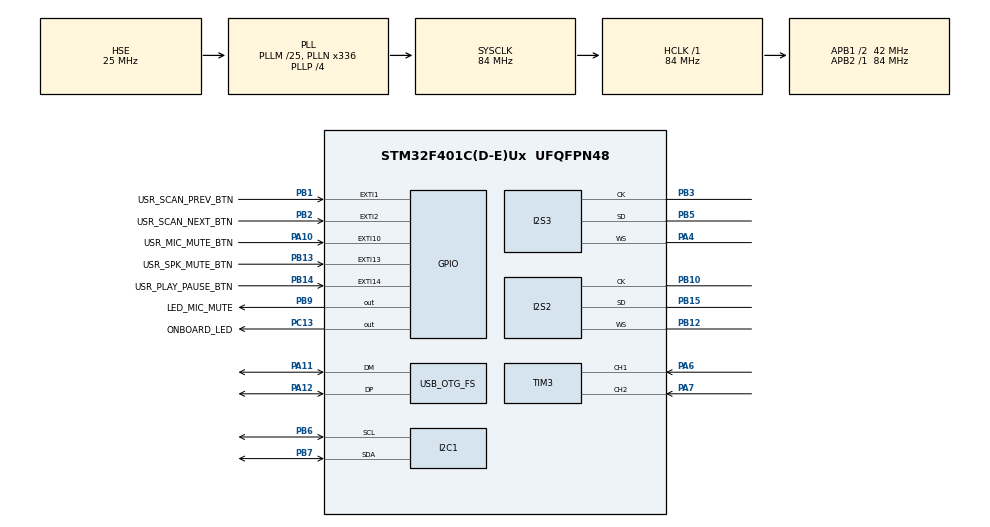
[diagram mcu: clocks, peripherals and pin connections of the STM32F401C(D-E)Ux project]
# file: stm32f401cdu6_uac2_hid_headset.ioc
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Dma.Request0=SPI2_TX
Dma.Request1=SPI3_RX
Dma.SPI2_TX.0.Direction=DMA_MEMORY_TO_PERIPH
Dma.SPI2_TX.0.FIFOMode=DMA_FIFOMODE_ENABLE
Dma.SPI2_TX.0.FIFOThreshold=DMA_FIFO_THRESHOLD_HALFFULL
Dma.SPI2_TX.0.Instance=DMA1_Stream4
Dma.SPI2_TX.0.MemBurst=DMA_MBURST_SINGLE
Dma.SPI2_TX.0.MemDataAlignment=DMA_MDATAALIGN_HALFWORD
Dma.SPI2_TX.0.MemInc=DMA_MINC_ENABLE
Dma.SPI2_TX.0.Mode=DMA_CIRCULAR
Dma.SPI2_TX.0.PeriphBurst=DMA_PBURST_SINGLE
Dma.SPI2_TX.0.PeriphDataAlignment=DMA_PDATAALIGN_HALFWORD
Dma.SPI2_TX.0.PeriphInc=DMA_PINC_DISABLE
Dma.SPI2_TX.0.Priority=DMA_PRIORITY_HIGH
Dma.SPI3_RX.1.Direction=DMA_PERIPH_TO_MEMORY
Dma.SPI3_RX.1.FIFOMode=DMA_FIFOMODE_ENABLE
Dma.SPI3_RX.1.FIFOThreshold=DMA_FIFO_THRESHOLD_HALFFULL
Dma.SPI3_RX.1.Instance=DMA1_Stream0
Dma.SPI3_RX.1.MemBurst=DMA_MBURST_SINGLE
Dma.SPI3_RX.1.MemDataAlignment=DMA_MDATAALIGN_HALFWORD
Dma.SPI3_RX.1.MemInc=DMA_MINC_ENABLE
Dma.SPI3_RX.1.Mode=DMA_CIRCULAR
Dma.SPI3_RX.1.PeriphBurst=DMA_PBURST_SINGLE
Dma.SPI3_RX.1.PeriphDataAlignment=DMA_PDATAALIGN_HALFWORD
Dma.SPI3_RX.1.PeriphInc=DMA_PINC_DISABLE
Dma.SPI3_RX.1.Priority=DMA_PRIORITY_HIGH
I2S2.AudioFreq=I2S_AUDIOFREQ_48K
I2S2.CPOL=I2S_CPOL_LOW
I2S2.DataFormat=I2S_DATAFORMAT_32B
I2S2.ErrorAudioFreq=0.0 %
I2S2.FullDuplexMode=I2S_FULLDUPLEXMODE_DISABLE
I2S2.Instance=SPI$Index
I2S2.RealAudioFreq=48.0 KHz
I2S2.VirtualMode=I2S_MODE_MASTER
I2S3.AudioFreq=I2S_AUDIOFREQ_48K
I2S3.DataFormat=I2S_DATAFORMAT_32B
I2S3.ErrorAudioFreq=0.0 %
I2S3.FullDuplexMode=I2S_FULLDUPLEXMODE_DISABLE
I2S3.Instance=SPI$Index
I2S3.Mode=I2S_MODE_MASTER_RX
I2S3.RealAudioFreq=48.0 KHz
I2S3.VirtualMode=I2S_MODE_MASTER
Mcu.Family=STM32F4
Mcu.Name=STM32F401C(D-E)Ux
Mcu.Package=UFQFPN48
NVIC.DMA1_Stream0_IRQn=true\:0\:0\:false\:false\:true\:false\:true\:true
NVIC.DMA1_Stream4_IRQn=true\:0\:0\:false\:false\:true\:false\:true\:true
NVIC.EXTI15_10_IRQn=true\:0\:0\:false\:false\:true\:true\:true\:true
NVIC.PriorityGroup=NVIC_PRIORITYGROUP_4
PA10.GPIO_Label=USR_MIC_MUTE_BTN
PA10.GPIO_PuPd=GPIO_PULLDOWN
PA10.Signal=GPXTI10
PA11.Mode=Device_Only
PA11.Signal=USB_OTG_FS_DM
PA12.Mode=Device_Only
PA12.Signal=USB_OTG_FS_DP
PA13.Mode=Serial_Wire
PA13.Signal=SYS_JTMS-SWDIO
PA14.Mode=Serial_Wire
PA14.Signal=SYS_JTCK-SWCLK
PA4.Mode=Half_Duplex_Master
PA4.Signal=I2S3_WS
PA6.Signal=S_TIM3_CH1
PA7.Signal=S_TIM3_CH2
PB1.GPIO_Label=USR_SCAN_PREV_BTN
PB1.GPIO_PuPd=GPIO_PULLDOWN
PB1.Signal=GPXTI1
PB10.Mode=Half_Duplex_Master
PB10.Signal=I2S2_CK
PB12.Mode=Half_Duplex_Master
PB12.Signal=I2S2_WS
PB13.GPIO_Label=USR_SPK_MUTE_BTN
PB13.GPIO_ModeDefaultEXTI=GPIO_MODE_IT_FALLING
PB13.GPIO_PuPd=GPIO_PULLUP
PB13.Signal=GPXTI13
PB14.GPIO_Label=USR_PLAY_PAUSE_BTN
PB14.Signal=GPXTI14
PB15.Mode=Half_Duplex_Master
PB15.Signal=I2S2_SD
PB2.GPIO_Label=USR_SCAN_NEXT_BTN
PB2.GPIO_PuPd=GPIO_PULLDOWN
PB2.Signal=GPXTI2
PB3.Mode=Half_Duplex_Master
PB3.Signal=I2S3_CK
PB5.Mode=Half_Duplex_Master
PB5.Signal=I2S3_SD
PB6.Mode=I2C
PB6.Signal=I2C1_SCL
PB7.Mode=I2C
PB7.Signal=I2C1_SDA
PB9.GPIO_Label=LED_MIC_MUTE
PB9.GPIO_PuPd=GPIO_NOPULL
PB9.Signal=GPIO_Output
PC13-ANTI_TAMP.GPIO_Label=ONBOARD_LED
PC13-ANTI_TAMP.GPIO_PuPd=GPIO_NOPULL
PC13-ANTI_TAMP.Signal=GPIO_Output
PH0\ -\ OSC_IN.Mode=HSE-External-Oscillator
PH0\ -\ OSC_IN.Signal=RCC_OSC_IN
PH1\ -\ OSC_OUT.Mode=HSE-External-Oscillator
PH1\ -\ OSC_OUT.Signal=RCC_OSC_OUT
ProjectManager.HeapSize=0x200
ProjectManager.StackSize=0x400
ProjectManager.TargetToolchain=STM32CubeIDE
RCC.48MHZClocksFreq_Value=48000000
RCC.AHBFreq_Value=84000000
RCC.APB1CLKDivider=RCC_HCLK_DIV2
RCC.APB1Freq_Value=42000000
RCC.APB1TimFreq_Value=84000000
RCC.APB2Freq_Value=84000000
RCC.APB2TimFreq_Value=84000000
RCC.CortexFreq_Value=84000000
RCC.HCLKFreq_Value=84000000
RCC.HSE_VALUE=25000000
RCC.HSI_VALUE=16000000
RCC.LSE_VALUE=32768
RCC.PLLI2SN=384
RCC.PLLI2SR=5
RCC.PLLM=25
RCC.PLLN=336
RCC.PLLP=RCC_PLLP_DIV4
RCC.PLLQ=7
RCC.SYSCLKFreq_VALUE=84000000
RCC.SYSCLKSource=RCC_SYSCLKSOURCE_PLLCLK
RCC.VCOOutputFreq_Value=336000000
SH.S_TIM3_CH1.0=TIM3_CH1,Encoder_Interface
SH.S_TIM3_CH2.0=TIM3_CH2,Encoder_Interface
TIM3.EncoderMode=TIM_ENCODERMODE_TI12
USB_OTG_FS.VirtualMode=Device_Only
board=custom

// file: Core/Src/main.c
/* USER CODE BEGIN Header */
/**
 ******************************************************************************
 * @file           : main.c
 * @brief          : Main program body
 ******************************************************************************
 * @attention
 *
 * Copyright (c) 2024 STMicroelectronics.
 * All rights reserved.
 *
 * This software is licensed under terms that can be found in the LICENSE file
 * in the root directory of this software component.
 * If no LICENSE file comes with this software, it is provided AS-IS.
 *
 ******************************************************************************
 */
/* USER CODE END Header */
#include "main.h"

/* USER CODE BEGIN Includes */
#include <stdio.h>
#include <string.h>

#include "bsp/board_api.h"
#include "tusb.h"
#include "usb_descriptors.h"

#include "usb_headset.h"
#include "volume_ctrl.h"
#include "ring_buf.h"
#include "usb_headset_settings.h"

#include "ssd1306.h"
#include "ssd1306_fonts.h"

#if USB_HID_AUDIO_CTRL_ACTIVE == 1
#include "usb_hid_status.h"
#endif //USB_HID_AUDIO_CTRL_ACTIVE
/* USER CODE END Includes */

I2C_HandleTypeDef hi2c1;

I2S_HandleTypeDef hi2s2;
I2S_HandleTypeDef hi2s3;
DMA_HandleTypeDef hdma_spi2_tx;
DMA_HandleTypeDef hdma_spi3_rx;

TIM_HandleTypeDef htim3;

PCD_HandleTypeDef hpcd_USB_OTG_FS;

/* USER CODE BEGIN PV */
usb_headset_settings_t current_settings;

// Buffer for speaker data
ring_buf_t spk_ring_buffer;
uint32_t *spk_ring_buffer_storage;

// Buffer for microphone data
ring_buf_t mic_ring_buffer;
uint32_t *mic_ring_buffer_storage;

// Buffer for speaker data
i2s_32b_audio_sample spk_32b_i2s_buffer[SAMPLE_BUFFER_SIZE];
uint8_t spk_usb_read_buf[SAMPLE_BUFFER_SIZE * 2 * 4 * 2]; // Max size of audio sample is  2 * 4. 2 Channels, 4 byte width sample
uint32_t spk_i2s_buf[SAMPLE_BUFFER_SIZE * 2];

// Buffer for microphone data
uint32_t mic_usb_24b_buffer[SAMPLE_BUFFER_SIZE];
uint16_t mic_usb_16b_buffer[SAMPLE_BUFFER_SIZE];
uint8_t mic_usb_read_buf[SAMPLE_BUFFER_SIZE * 2 * 4 * 2]; // Max size of audio sample is  2 * 4. 2 Channels, 4 byte width sample
uint32_t mic_i2s_buf[SAMPLE_BUFFER_SIZE * 2];
i2s_32b_audio_sample mic_i2s_read_buffer[SAMPLE_BUFFER_SIZE];

#if USB_HID_AUDIO_CTRL_ACTIVE == 1
usb_hid_status_t hid_status;
void usb_hid_task(void);
#endif //USB_HID_AUDIO_CTRL_ACTIVE

void led_blinking_task(void);

void refresh_i2s_connections(void);

int32_t usb_to_i2s_32b_sample_convert(int32_t sample, uint32_t volume_db);
int32_t usb_to_i2s_16b_sample_convert(int32_t sample, uint32_t volume_db);

void usb_headset_mute_handler(int8_t bChannelNumber, int8_t mute_in);
void usb_headset_volume_handler(int8_t bChannelNumber, int16_t volume_in);
void usb_headset_current_sample_rate_handler(uint32_t current_sample_rate_in);
void usb_headset_current_resolution_handler(uint8_t itf,
		uint8_t current_resolution_in);
void usb_headset_current_status_set_handler(uint8_t itf,
		uint32_t blink_interval_ms_in);

void usb_headset_tud_audio_rx_done_pre_read_handler(uint8_t rhport,
		uint16_t n_bytes_received, uint8_t func_id, uint8_t ep_out,
		uint8_t cur_alt_setting);
void usb_headset_tud_audio_tx_done_pre_load_handler(uint8_t rhport, uint8_t itf,
		uint8_t ep_in, uint8_t cur_alt_setting);
void usb_headset_tud_audio_tx_done_post_load_handler(uint8_t rhport,
		uint16_t n_bytes_copied, uint8_t itf, uint8_t ep_in,
		uint8_t cur_alt_setting);

int spk_machine_i2s_write_stream(uint32_t *buf_in, size_t size);
int mic_machine_i2s_read_stream(uint32_t *buf_in, size_t size);

void HAL_I2S_TxHalfCpltCallback(I2S_HandleTypeDef *hi2s);
void HAL_I2S_TxCpltCallback(I2S_HandleTypeDef *hi2s);
void HAL_I2S_RxHalfCpltCallback(I2S_HandleTypeDef *hi2s);
void HAL_I2S_RxCpltCallback(I2S_HandleTypeDef *hi2s);
//void HAL_I2S_ErrorCallback(I2S_HandleTypeDef *hi2s);
void HAL_GPIO_EXTI_Callback(uint16_t GPIO_Pin);

uint32_t feed_spk_dma(uint32_t *dma_buffer_p,
		uint32_t sizeof_half_dma_buffer_in_bytes);

uint32_t empty_mic_dma(uint32_t *dma_buffer_p,
		uint32_t sizeof_half_dma_buffer_in_words);

void status_update_task(void);
void display_ssd1306_info(void);

/* USER CODE END PV */

void SystemClock_Config(void);
void PeriphCommonClock_Config(void);
static void MX_GPIO_Init(void);
static void MX_DMA_Init(void);
static void MX_USB_OTG_FS_PCD_Init(void);
static void MX_I2S2_Init(void);
static void MX_I2C1_Init(void);
static void MX_I2S3_Init(void);
static void MX_TIM3_Init(void);

int main(void)
{

  /* MCU Configuration--------------------------------------------------------*/

  /* Reset of all peripherals, Initializes the Flash interface and the Systick. */
  HAL_Init();

  /* Configure the system clock */
  SystemClock_Config();

  /* Configure the peripherals common clocks */
  PeriphCommonClock_Config();

  /* Initialize all configured peripherals */
  MX_GPIO_Init();
  MX_DMA_Init();
  MX_USB_OTG_FS_PCD_Init();
  MX_I2S2_Init();
  MX_I2C1_Init();
  MX_I2S3_Init();
  MX_TIM3_Init();
  /* USER CODE BEGIN 2 */

	current_settings.spk_sample_rate = I2S_SPK_RATE_DEF;
	current_settings.spk_resolution =
	CFG_TUD_AUDIO_FUNC_1_FORMAT_1_RESOLUTION_RX;
	current_settings.spk_blink_interval_ms = BLINK_NOT_MOUNTED;

	current_settings.mic_resolution =
	CFG_TUD_AUDIO_FUNC_1_FORMAT_1_RESOLUTION_RX;
	current_settings.mic_blink_interval_ms = BLINK_NOT_MOUNTED;
	current_settings.usr_mic_mute = false;

	current_settings.status_updated = false;

	usb_headset_set_mute_set_handler(usb_headset_mute_handler);
	usb_headset_set_volume_set_handler(usb_headset_volume_handler);
	usb_headset_set_current_sample_rate_set_handler(
			usb_headset_current_sample_rate_handler);
	usb_headset_set_current_resolution_set_handler(
			usb_headset_current_resolution_handler);
	usb_headset_set_current_status_set_handler(
			usb_headset_current_status_set_handler);

	usb_headset_set_tud_audio_rx_done_pre_read_set_handler(
			usb_headset_tud_audio_rx_done_pre_read_handler);
	usb_headset_set_tud_audio_tx_done_pre_load_set_handler(
			usb_headset_tud_audio_tx_done_pre_load_handler);
	usb_headset_set_tud_audio_tx_done_post_load_set_handler(
			usb_headset_tud_audio_tx_done_post_load_handler);

	for (int i = 0; i < (CFG_TUD_AUDIO_FUNC_1_N_CHANNELS_RX + 1); i++) {
		current_settings.spk_volume[i] = DEFAULT_VOLUME;
		current_settings.spk_mute[i] = 0;
		current_settings.spk_volume_db[i] = vol_to_db_convert_enc(
				current_settings.spk_mute[i], current_settings.spk_volume[i]);
	}

	HAL_GPIO_WritePin(LED_MIC_MUTE_GPIO_Port, LED_MIC_MUTE_Pin, GPIO_PIN_SET);

	usb_headset_init();
	refresh_i2s_connections();

	TU_LOG1("Headset running\r\n");

	// Init SSD
	ssd1306_Init();

#if USB_HID_AUDIO_CTRL_ACTIVE == 1
	memset(&hid_status, 0x0, sizeof(hid_status));
	HAL_TIM_Encoder_Start_IT(&htim3, TIM_CHANNEL_ALL);
#endif //USB_HID_AUDIO_CTRL_ACTIVE

  /* USER CODE END 2 */

  /* Infinite loop */
  /* USER CODE BEGIN WHILE */
	while (1) {
		usb_headset_task(); // TinyUSB device task
		led_blinking_task();
		status_update_task();
#if USB_HID_AUDIO_CTRL_ACTIVE == 1
		usb_hid_task();
#endif //USB_HID_AUDIO_CTRL_ACTIVE

    /* USER CODE END WHILE */

	}
}

void SystemClock_Config(void)
{
  RCC_OscInitTypeDef RCC_OscInitStruct = {0};
  RCC_ClkInitTypeDef RCC_ClkInitStruct = {0};

  /** Configure the main internal regulator output voltage
  */
  __HAL_RCC_PWR_CLK_ENABLE();
  __HAL_PWR_VOLTAGESCALING_CONFIG(PWR_REGULATOR_VOLTAGE_SCALE2);

  /** Initializes the RCC Oscillators according to the specified parameters
  * in the RCC_OscInitTypeDef structure.
  */
  RCC_OscInitStruct.OscillatorType = RCC_OSCILLATORTYPE_HSE;
  RCC_OscInitStruct.HSEState = RCC_HSE_ON;
  RCC_OscInitStruct.PLL.PLLState = RCC_PLL_ON;
  RCC_OscInitStruct.PLL.PLLSource = RCC_PLLSOURCE_HSE;
  RCC_OscInitStruct.PLL.PLLM = 25;
  RCC_OscInitStruct.PLL.PLLN = 336;
  RCC_OscInitStruct.PLL.PLLP = RCC_PLLP_DIV4;
  RCC_OscInitStruct.PLL.PLLQ = 7;
  if (HAL_RCC_OscConfig(&RCC_OscInitStruct) != HAL_OK)
  {
    Error_Handler();
  }

  /** Initializes the CPU, AHB and APB buses clocks
  */
  RCC_ClkInitStruct.ClockType = RCC_CLOCKTYPE_HCLK|RCC_CLOCKTYPE_SYSCLK
                              |RCC_CLOCKTYPE_PCLK1|RCC_CLOCKTYPE_PCLK2;
  RCC_ClkInitStruct.SYSCLKSource = RCC_SYSCLKSOURCE_PLLCLK;
  RCC_ClkInitStruct.AHBCLKDivider = RCC_SYSCLK_DIV1;
  RCC_ClkInitStruct.APB1CLKDivider = RCC_HCLK_DIV2;
  RCC_ClkInitStruct.APB2CLKDivider = RCC_HCLK_DIV1;

  if (HAL_RCC_ClockConfig(&RCC_ClkInitStruct, FLASH_LATENCY_2) != HAL_OK)
  {
    Error_Handler();
  }
}

void PeriphCommonClock_Config(void)
{
  RCC_PeriphCLKInitTypeDef PeriphClkInitStruct = {0};

  /** Initializes the peripherals clock
  */
  PeriphClkInitStruct.PeriphClockSelection = RCC_PERIPHCLK_I2S;
  PeriphClkInitStruct.PLLI2S.PLLI2SN = 384;
  PeriphClkInitStruct.PLLI2S.PLLI2SR = 5;
  if (HAL_RCCEx_PeriphCLKConfig(&PeriphClkInitStruct) != HAL_OK)
  {
    Error_Handler();
  }
}

static void MX_I2C1_Init(void)
{

  hi2c1.Instance = I2C1;
  hi2c1.Init.ClockSpeed = 100000;
  hi2c1.Init.DutyCycle = I2C_DUTYCYCLE_2;
  hi2c1.Init.OwnAddress1 = 0;
  hi2c1.Init.AddressingMode = I2C_ADDRESSINGMODE_7BIT;
  hi2c1.Init.DualAddressMode = I2C_DUALADDRESS_DISABLE;
  hi2c1.Init.OwnAddress2 = 0;
  hi2c1.Init.GeneralCallMode = I2C_GENERALCALL_DISABLE;
  hi2c1.Init.NoStretchMode = I2C_NOSTRETCH_DISABLE;
  if (HAL_I2C_Init(&hi2c1) != HAL_OK)
  {
    Error_Handler();
  }

}

static void MX_I2S2_Init(void)
{

  hi2s2.Instance = SPI2;
  hi2s2.Init.Mode = I2S_MODE_MASTER_TX;
  hi2s2.Init.Standard = I2S_STANDARD_PHILIPS;
  hi2s2.Init.DataFormat = I2S_DATAFORMAT_32B;
  hi2s2.Init.MCLKOutput = I2S_MCLKOUTPUT_DISABLE;
  hi2s2.Init.AudioFreq = I2S_AUDIOFREQ_48K;
  hi2s2.Init.CPOL = I2S_CPOL_LOW;
  hi2s2.Init.ClockSource = I2S_CLOCK_PLL;
  hi2s2.Init.FullDuplexMode = I2S_FULLDUPLEXMODE_DISABLE;
  if (HAL_I2S_Init(&hi2s2) != HAL_OK)
  {
    Error_Handler();
  }

}

static void MX_I2S3_Init(void)
{

  hi2s3.Instance = SPI3;
  hi2s3.Init.Mode = I2S_MODE_MASTER_RX;
  hi2s3.Init.Standard = I2S_STANDARD_PHILIPS;
  hi2s3.Init.DataFormat = I2S_DATAFORMAT_32B;
  hi2s3.Init.MCLKOutput = I2S_MCLKOUTPUT_DISABLE;
  hi2s3.Init.AudioFreq = I2S_AUDIOFREQ_48K;
  hi2s3.Init.CPOL = I2S_CPOL_LOW;
  hi2s3.Init.ClockSource = I2S_CLOCK_PLL;
  hi2s3.Init.FullDuplexMode = I2S_FULLDUPLEXMODE_DISABLE;
  if (HAL_I2S_Init(&hi2s3) != HAL_OK)
  {
    Error_Handler();
  }

}

static void MX_TIM3_Init(void)
{

  TIM_Encoder_InitTypeDef sConfig = {0};
  TIM_MasterConfigTypeDef sMasterConfig = {0};

  htim3.Instance = TIM3;
  htim3.Init.Prescaler = 0;
  htim3.Init.CounterMode = TIM_COUNTERMODE_UP;
  htim3.Init.Period = 65535;
  htim3.Init.ClockDivision = TIM_CLOCKDIVISION_DIV1;
  htim3.Init.AutoReloadPreload = TIM_AUTORELOAD_PRELOAD_DISABLE;
  sConfig.EncoderMode = TIM_ENCODERMODE_TI12;
  sConfig.IC1Polarity = TIM_ICPOLARITY_RISING;
  sConfig.IC1Selection = TIM_ICSELECTION_DIRECTTI;
  sConfig.IC1Prescaler = TIM_ICPSC_DIV1;
  sConfig.IC1Filter = 0;
  sConfig.IC2Polarity = TIM_ICPOLARITY_RISING;
  sConfig.IC2Selection = TIM_ICSELECTION_DIRECTTI;
  sConfig.IC2Prescaler = TIM_ICPSC_DIV1;
  sConfig.IC2Filter = 0;
  if (HAL_TIM_Encoder_Init(&htim3, &sConfig) != HAL_OK)
  {
    Error_Handler();
  }
  sMasterConfig.MasterOutputTrigger = TIM_TRGO_RESET;
  sMasterConfig.MasterSlaveMode = TIM_MASTERSLAVEMODE_DISABLE;
  if (HAL_TIMEx_MasterConfigSynchronization(&htim3, &sMasterConfig) != HAL_OK)
  {
    Error_Handler();
  }

}

static void MX_USB_OTG_FS_PCD_Init(void)
{

  hpcd_USB_OTG_FS.Instance = USB_OTG_FS;
  hpcd_USB_OTG_FS.Init.dev_endpoints = 4;
  hpcd_USB_OTG_FS.Init.speed = PCD_SPEED_FULL;
  hpcd_USB_OTG_FS.Init.dma_enable = DISABLE;
  hpcd_USB_OTG_FS.Init.phy_itface = PCD_PHY_EMBEDDED;
  hpcd_USB_OTG_FS.Init.Sof_enable = DISABLE;
  hpcd_USB_OTG_FS.Init.low_power_enable = DISABLE;
  hpcd_USB_OTG_FS.Init.lpm_enable = DISABLE;
  hpcd_USB_OTG_FS.Init.vbus_sensing_enable = DISABLE;
  hpcd_USB_OTG_FS.Init.use_dedicated_ep1 = DISABLE;
  if (HAL_PCD_Init(&hpcd_USB_OTG_FS) != HAL_OK)
  {
    Error_Handler();
  }

}

static void MX_DMA_Init(void)
{

  /* DMA controller clock enable */
  __HAL_RCC_DMA1_CLK_ENABLE();

  /* DMA interrupt init */
  /* DMA1_Stream0_IRQn interrupt configuration */
  HAL_NVIC_SetPriority(DMA1_Stream0_IRQn, 0, 0);
  HAL_NVIC_EnableIRQ(DMA1_Stream0_IRQn);
  /* DMA1_Stream4_IRQn interrupt configuration */
  HAL_NVIC_SetPriority(DMA1_Stream4_IRQn, 0, 0);
  HAL_NVIC_EnableIRQ(DMA1_Stream4_IRQn);

}

static void MX_GPIO_Init(void)
{
  GPIO_InitTypeDef GPIO_InitStruct = {0};

  /* GPIO Ports Clock Enable */
  __HAL_RCC_GPIOC_CLK_ENABLE();
  __HAL_RCC_GPIOH_CLK_ENABLE();
  __HAL_RCC_GPIOA_CLK_ENABLE();
  __HAL_RCC_GPIOB_CLK_ENABLE();

  /*Configure GPIO pin Output Level */
  HAL_GPIO_WritePin(ONBOARD_LED_GPIO_Port, ONBOARD_LED_Pin, GPIO_PIN_RESET);

  /*Configure GPIO pin Output Level */
  HAL_GPIO_WritePin(LED_MIC_MUTE_GPIO_Port, LED_MIC_MUTE_Pin, GPIO_PIN_RESET);

  /*Configure GPIO pin : ONBOARD_LED_Pin */
  GPIO_InitStruct.Pin = ONBOARD_LED_Pin;
  GPIO_InitStruct.Mode = GPIO_MODE_OUTPUT_PP;
  GPIO_InitStruct.Pull = GPIO_NOPULL;
  GPIO_InitStruct.Speed = GPIO_SPEED_FREQ_LOW;
  HAL_GPIO_Init(ONBOARD_LED_GPIO_Port, &GPIO_InitStruct);

  /*Configure GPIO pins : USR_SCAN_PREV_BTN_Pin USR_SCAN_NEXT_BTN_Pin */
  GPIO_InitStruct.Pin = USR_SCAN_PREV_BTN_Pin|USR_SCAN_NEXT_BTN_Pin;
  GPIO_InitStruct.Mode = GPIO_MODE_IT_RISING;
  GPIO_InitStruct.Pull = GPIO_PULLDOWN;
  HAL_GPIO_Init(GPIOB, &GPIO_InitStruct);

  /*Configure GPIO pin : USR_SPK_MUTE_BTN_Pin */
  GPIO_InitStruct.Pin = USR_SPK_MUTE_BTN_Pin;
  GPIO_InitStruct.Mode = GPIO_MODE_IT_FALLING;
  GPIO_InitStruct.Pull = GPIO_PULLUP;
  HAL_GPIO_Init(USR_SPK_MUTE_BTN_GPIO_Port, &GPIO_InitStruct);

  /*Configure GPIO pin : USR_PLAY_PAUSE_BTN_Pin */
  GPIO_InitStruct.Pin = USR_PLAY_PAUSE_BTN_Pin;
  GPIO_InitStruct.Mode = GPIO_MODE_IT_RISING;
  GPIO_InitStruct.Pull = GPIO_NOPULL;
  HAL_GPIO_Init(USR_PLAY_PAUSE_BTN_GPIO_Port, &GPIO_InitStruct);

  /*Configure GPIO pin : USR_MIC_MUTE_BTN_Pin */
  GPIO_InitStruct.Pin = USR_MIC_MUTE_BTN_Pin;
  GPIO_InitStruct.Mode = GPIO_MODE_IT_RISING;
  GPIO_InitStruct.Pull = GPIO_PULLDOWN;
  HAL_GPIO_Init(USR_MIC_MUTE_BTN_GPIO_Port, &GPIO_InitStruct);

  /*Configure GPIO pin : LED_MIC_MUTE_Pin */
  GPIO_InitStruct.Pin = LED_MIC_MUTE_Pin;
  GPIO_InitStruct.Mode = GPIO_MODE_OUTPUT_PP;
  GPIO_InitStruct.Pull = GPIO_NOPULL;
  GPIO_InitStruct.Speed = GPIO_SPEED_FREQ_LOW;
  HAL_GPIO_Init(LED_MIC_MUTE_GPIO_Port, &GPIO_InitStruct);

  /* EXTI interrupt init*/
  HAL_NVIC_SetPriority(EXTI15_10_IRQn, 0, 0);
  HAL_NVIC_EnableIRQ(EXTI15_10_IRQn);

}

/* USER CODE BEGIN 4 */

void refresh_i2s_connections(void) {
	HAL_I2S_StateTypeDef dma_state;
	// Stop speaker DMA
	dma_state = HAL_I2S_GetState(&hi2s2);
	if (dma_state != HAL_I2S_STATE_READY) {
		HAL_StatusTypeDef stop_status = HAL_I2S_DMAStop(&hi2s2);
		if (stop_status != HAL_OK) {
			Error_Handler();
		}
	}

	// Stop microphone DMA
	dma_state = HAL_I2S_GetState(&hi2s3);
	if (dma_state != HAL_I2S_STATE_READY) {
		HAL_StatusTypeDef stop_status = HAL_I2S_DMAStop(&hi2s3);
		if (stop_status != HAL_OK) {
			Error_Handler();
		}
	}

	if (spk_ring_buffer_storage != NULL) {
		free(spk_ring_buffer_storage);
	}

	current_settings.samples_in_i2s_frame_min =
			(current_settings.spk_sample_rate) / 1000;
	current_settings.samples_in_i2s_frame_max =
			(current_settings.spk_sample_rate + 999) / 1000;

	// Ring buffer contains 2 ms data
	spk_ring_buffer_storage = m_new(uint32_t,
			current_settings.samples_in_i2s_frame_max * 2 * 2);
	ringbuf_init(&spk_ring_buffer, spk_ring_buffer_storage,
			current_settings.samples_in_i2s_frame_max * 2 * 2);

	mic_ring_buffer_storage = m_new(uint32_t,
			current_settings.samples_in_i2s_frame_max * 2 * 2);
	ringbuf_init(&mic_ring_buffer, mic_ring_buffer_storage,
			current_settings.samples_in_i2s_frame_max * 2 * 2);

	// Clear memories
	memset(spk_i2s_buf, 0x0, sizeof(spk_i2s_buf));
	memset(mic_i2s_buf, 0x0, sizeof(mic_i2s_buf));
	memset(mic_usb_24b_buffer, 0x0, sizeof(mic_usb_24b_buffer));
	memset(mic_usb_16b_buffer, 0x0, sizeof(mic_usb_16b_buffer));

	uint16_t num_of_samples_in_buffer =
			current_settings.samples_in_i2s_frame_max * 2;

	// Run transmit DMA
	HAL_StatusTypeDef tx_status = HAL_I2S_Transmit_DMA(&hi2s2, spk_i2s_buf,
			num_of_samples_in_buffer);
	if (tx_status != HAL_OK) {
		Error_Handler();
	}

	HAL_StatusTypeDef rx_status = HAL_I2S_Receive_DMA(&hi2s3, mic_i2s_buf,
			num_of_samples_in_buffer);
	if (rx_status != HAL_OK) {
		Error_Handler();
	}
}

void usb_headset_mute_handler(int8_t bChannelNumber, int8_t mute_in) {
	current_settings.spk_mute[bChannelNumber] = mute_in;
	current_settings.spk_volume_db[bChannelNumber] = vol_to_db_convert_enc(
			current_settings.spk_mute[bChannelNumber],
			current_settings.spk_volume[bChannelNumber]);

	current_settings.spk_volume_mul_db[0] = current_settings.spk_volume_db[0]
			* current_settings.spk_volume_db[1]; // Left ch volume
	current_settings.spk_volume_mul_db[1] = current_settings.spk_volume_db[0]
			* current_settings.spk_volume_db[2]; // Right ch volume

	current_settings.status_updated = true;
}

void usb_headset_volume_handler(int8_t bChannelNumber, int16_t volume_in) {
	current_settings.spk_volume[bChannelNumber] = volume_in;
	current_settings.spk_volume_db[bChannelNumber] = vol_to_db_convert_enc(
			current_settings.spk_mute[bChannelNumber],
			current_settings.spk_volume[bChannelNumber]);

	current_settings.spk_volume_mul_db[0] = current_settings.spk_volume_db[0]
			* current_settings.spk_volume_db[1]; // Left ch volume
	current_settings.spk_volume_mul_db[1] = current_settings.spk_volume_db[0]
			* current_settings.spk_volume_db[2]; // Right ch volume

	current_settings.status_updated = true;
}

void usb_headset_current_sample_rate_handler(uint32_t current_sample_rate_in) {
	current_settings.spk_sample_rate = current_sample_rate_in;
	refresh_i2s_connections();
	current_settings.status_updated = true;
}

void usb_headset_current_resolution_handler(uint8_t itf,
		uint8_t current_resolution_in) {
	if ((itf == 0) || (itf == ITF_NUM_AUDIO_STREAMING_SPK))
		current_settings.spk_resolution = current_resolution_in;
	if ((itf == 0) || (itf == ITF_NUM_AUDIO_STREAMING_MIC))
		current_settings.mic_resolution = current_resolution_in;

	refresh_i2s_connections();
	current_settings.status_updated = true;
}

void usb_headset_current_status_set_handler(uint8_t itf,
		uint32_t blink_interval_ms_in) {
	if ((itf == 0) || (itf == ITF_NUM_AUDIO_STREAMING_SPK))
		current_settings.spk_blink_interval_ms = blink_interval_ms_in;
	if ((itf == 0) || (itf == ITF_NUM_AUDIO_STREAMING_MIC))
		current_settings.mic_blink_interval_ms = blink_interval_ms_in;
	current_settings.status_updated = true;
}

void usb_headset_tud_audio_rx_done_pre_read_handler(uint8_t rhport,
		uint16_t n_bytes_received, uint8_t func_id, uint8_t ep_out,
		uint8_t cur_alt_setting) {
	uint32_t volume_db_left = current_settings.spk_volume_mul_db[0];
	uint32_t volume_db_right = current_settings.spk_volume_mul_db[1];

	if (current_settings.spk_blink_interval_ms == BLINK_STREAMING) {
		// Speaker data size received in the last frame
		uint16_t usb_spk_data_size = tud_audio_n_read(func_id, spk_usb_read_buf,
				n_bytes_received);
		//uint16_t usb_spk_data_size = tud_audio_read(spk_usb_read_buf,
		//		n_bytes_received);
		uint16_t usb_sample_count = 0;

		if (current_settings.spk_resolution == 16) {
			int16_t *in = (int16_t*) spk_usb_read_buf;
			usb_sample_count = usb_spk_data_size / 4; // 4 bytes per sample 2b left, 2b right

			//if (usb_sample_count >= current_settings.samples_in_i2s_frame_min) {
			for (int i = 0; i < usb_sample_count; i++) {
				int32_t left = in[i * 2 + 0];
				int32_t right = in[i * 2 + 1];

				left = usb_to_i2s_16b_sample_convert(left, volume_db_left);
				right = usb_to_i2s_16b_sample_convert(right, volume_db_right);

				spk_32b_i2s_buffer[i].left = left;
				spk_32b_i2s_buffer[i].right = right;
			}
			spk_machine_i2s_write_stream(&spk_32b_i2s_buffer[0],
					usb_sample_count * 2);
			//}
		} else if (current_settings.spk_resolution == 24) {
			int32_t *in = (int32_t*) spk_usb_read_buf;
			usb_sample_count = usb_spk_data_size / 8; // 8 bytes per sample 4b left, 4b right

			//if (usb_sample_count >= current_settings.samples_in_i2s_frame_min) {
			for (int i = 0; i < usb_sample_count; i++) {
				int32_t left = in[i * 2 + 0];
				int32_t right = in[i * 2 + 1];

				left = usb_to_i2s_32b_sample_convert(left, volume_db_left);
				right = usb_to_i2s_32b_sample_convert(right, volume_db_right);

				spk_32b_i2s_buffer[i].left = left;
				spk_32b_i2s_buffer[i].right = right;
			}
			spk_machine_i2s_write_stream(&spk_32b_i2s_buffer[0],
					usb_sample_count * 2);
			//}
		}
	}
}

void usb_headset_tud_audio_tx_done_pre_load_handler(uint8_t rhport, uint8_t itf,
		uint8_t ep_in, uint8_t cur_alt_setting) {
	if (current_settings.mic_resolution == 24) {
		uint32_t buffer_size = current_settings.samples_in_i2s_frame_min
				* CFG_TUD_AUDIO_FUNC_1_FORMAT_2_N_BYTES_PER_SAMPLE_TX
				* CFG_TUD_AUDIO_FUNC_1_N_CHANNELS_TX;
		tud_audio_write(&(mic_usb_24b_buffer[0]), buffer_size);
	} else {
		uint32_t buffer_size = current_settings.samples_in_i2s_frame_min
				* CFG_TUD_AUDIO_FUNC_1_FORMAT_1_N_BYTES_PER_SAMPLE_TX
				* CFG_TUD_AUDIO_FUNC_1_N_CHANNELS_TX;
		tud_audio_write(&(mic_usb_16b_buffer[0]), buffer_size);
	}
}

void usb_headset_tud_audio_tx_done_post_load_handler(uint8_t rhport,
		uint16_t n_bytes_copied, uint8_t itf, uint8_t ep_in,
		uint8_t cur_alt_setting) {

	// Read data from microphone
	uint32_t buffer_size_read = current_settings.samples_in_i2s_frame_min * 2;
	int num_words_read = mic_machine_i2s_read_stream(&mic_i2s_read_buffer[0],
			buffer_size_read);
	int num_of_frames_read = num_words_read / 2;

	if (CFG_TUD_AUDIO_FUNC_1_N_CHANNELS_TX == 2) {
		if (num_of_frames_read >= current_settings.samples_in_i2s_frame_min) {

			for (uint32_t i = 0; i < num_of_frames_read; i++) {
				if (current_settings.mic_resolution == 24) {
					if (current_settings.usr_mic_mute == false) {
						int32_t left_24b = (int32_t) mic_i2s_read_buffer[i].left
								<< MIC_FORMAT_24B_TO_24B_SHIFT_VAL; // Magic number
						int32_t right_24b =
								(int32_t) mic_i2s_read_buffer[i].right
										<< MIC_FORMAT_24B_TO_24B_SHIFT_VAL; // Magic number

						mic_usb_24b_buffer[i * 2] = left_24b; // TODO: check this value
						mic_usb_24b_buffer[i * 2 + 1] = right_24b; // TODO: check this value
					} else {
						mic_usb_24b_buffer[i * 2] = 0x0;
						mic_usb_24b_buffer[i * 2 + 1] = 0x0;
					}
				} else {
					if (current_settings.usr_mic_mute == false) {
						int32_t left_16b = (int32_t) mic_i2s_read_buffer[i].left
								>> MIC_FORMAT_24B_TO_16B_SHIFT_VAL; // Magic number
						int32_t right_16b =
								(int32_t) mic_i2s_read_buffer[i].right
										>> MIC_FORMAT_24B_TO_16B_SHIFT_VAL; // Magic number

						mic_usb_16b_buffer[i * 2] = left_16b; // TODO: check this value
						mic_usb_16b_buffer[i * 2 + 1] = right_16b; // TODO: check this value
					} else {
						mic_usb_16b_buffer[i * 2] = 0x0; // TODO: check this value
						mic_usb_16b_buffer[i * 2 + 1] = 0x0; // TODO: check this value
					}
				}
			}
		}
	} else { //CFG_TUD_AUDIO_FUNC_1_N_CHANNELS_TX is 1
		if (num_of_frames_read >= current_settings.samples_in_i2s_frame_min) {
			for (uint32_t i = 0; i < num_of_frames_read; i++) {
				if (current_settings.mic_resolution == 24) {
					if (current_settings.usr_mic_mute == false) {
						int32_t mono_24b = (int32_t) mic_i2s_read_buffer[i].left
								<< MIC_FORMAT_24B_TO_24B_SHIFT_VAL; // Magic number

						mic_usb_24b_buffer[i] = mono_24b; // TODO: check this value
					} else {
						mic_usb_24b_buffer[i] = 0x0; // TODO: check this value
					}
				} else {
					if (current_settings.usr_mic_mute == false) {
						int32_t mono_24b = (int32_t) mic_i2s_read_buffer[i].left
								>> MIC_FORMAT_24B_TO_16B_SHIFT_VAL; // Magic number

						mic_usb_16b_buffer[i] = mono_24b; // TODO: check this value
					} else {
						mic_usb_16b_buffer[i] = 0x0; // TODO: check this value
					}
				}
			}
		}
	}
}

int32_t usb_to_i2s_32b_sample_convert(int32_t sample, uint32_t volume_db) {
	int64_t sample_tmp = (int64_t) sample * (int64_t) volume_db;
	sample_tmp = sample_tmp >> 30;
	return (int32_t) sample_tmp;
//	return (int32_t)sample;
}

int32_t usb_to_i2s_16b_sample_convert(int32_t sample, uint32_t volume_db) {
	int64_t sample_tmp = (int64_t) sample * (int64_t) volume_db;
	sample_tmp = sample_tmp >> (30 - 16);
	return (int32_t) sample_tmp;
//	return (int32_t)sample;
}

//--------------------------------------------------------------------+
// BLINKING TASK
//--------------------------------------------------------------------+
void led_blinking_task(void) {
	static uint32_t start_ms = 0;
	static bool led_state = false;

	uint32_t cur_time_ms = board_millis();

	// Blink every interval ms
	if (cur_time_ms - start_ms < current_settings.spk_blink_interval_ms)
		return;
	start_ms += current_settings.spk_blink_interval_ms;

	board_led_write(led_state);
	led_state = 1 - led_state;
}

int spk_machine_i2s_write_stream(uint32_t *buf_in, size_t size) {
	if ((size % 2) != 0) {
		return -2;
	}

	if (size == 0) {
		return 0;
	}

	// copy audio samples from the app buffer to the ring buffer
	// loop, reading samples until the app buffer is emptied
	// for uasyncio mode, the loop will make an early exit if the ring buffer becomes full

	uint32_t a_index = 0;

	while (a_index < size) {
		// copy a byte to the ringbuf when space becomes available
		while (ringbuf_push(&spk_ring_buffer, buf_in[a_index]) == false) {
			;
		}
		a_index++;
	}

	return a_index;
}

int mic_machine_i2s_read_stream(uint32_t *buf_in, size_t size) {
	if ((size % 2) != 0) {
		return -2;
	}

	if (size == 0) {
		return 0;
	}

	uint32_t available_data_words = ringbuf_available_data(&mic_ring_buffer);

	if (available_data_words >= size) {
		for (uint32_t i = 0; i < size; i++) {
			ringbuf_pop_half_word_swap(&mic_ring_buffer, &buf_in[i]);
		}
		return size;
	} else {
		// underflow.  clear buffer to transmit "silence" on the I2S bus
		memset(buf_in, 0, size * sizeof(uint32_t));
		return size;
	}
}

void HAL_I2S_TxHalfCpltCallback(I2S_HandleTypeDef *hi2s) {
	feed_spk_dma(&spk_i2s_buf[0], current_settings.samples_in_i2s_frame_max);
}

void HAL_I2S_TxCpltCallback(I2S_HandleTypeDef *hi2s) {
	feed_spk_dma(&spk_i2s_buf[current_settings.samples_in_i2s_frame_max],
			current_settings.samples_in_i2s_frame_max);
}

void HAL_I2S_RxHalfCpltCallback(I2S_HandleTypeDef *hi2s) {
	empty_mic_dma(&mic_i2s_buf[0], current_settings.samples_in_i2s_frame_max);
}

void HAL_I2S_RxCpltCallback(I2S_HandleTypeDef *hi2s) {
	empty_mic_dma(&mic_i2s_buf[current_settings.samples_in_i2s_frame_max],
			current_settings.samples_in_i2s_frame_max);
}

/**
 * @brief  EXTI line detection callbacks.
 * @param  GPIO_Pin Specifies the pins connected EXTI line
 * @retval None
 */
void HAL_GPIO_EXTI_Callback(uint16_t GPIO_Pin) {
	static uint32_t prev_btb_press__ms = 0;

	uint32_t cur_time_ms = board_millis();

	if (cur_time_ms - prev_btb_press__ms < 50)
		return;

	prev_btb_press__ms = cur_time_ms;

	if (GPIO_Pin == USR_MIC_MUTE_BTN_Pin) {
		current_settings.usr_mic_mute = !current_settings.usr_mic_mute;
	}

#if USB_HID_AUDIO_CTRL_ACTIVE == 1
	if (GPIO_Pin == USR_SPK_MUTE_BTN_Pin) {
		hid_status.cur_custom_ctrl_scan_code = MY_TUD_HID_CONSUMER_MUTE_CODE;
		hid_status.custom_ctrl_scan_code_updated = true;
	}

	if (GPIO_Pin == USR_PLAY_PAUSE_BTN_Pin) {
		hid_status.cur_custom_ctrl_scan_code = MY_TUD_HID_CONSUMER_PLAY_PAUSE_CODE;
		hid_status.custom_ctrl_scan_code_updated = true;
	}
#endif //USB_HID_AUDIO_CTRL_ACTIVE
}

//void HAL_I2S_ErrorCallback(I2S_HandleTypeDef *hi2s){
//}

uint32_t feed_spk_dma(uint32_t *dma_buffer_p,
		uint32_t sizeof_half_dma_buffer_in_words) {
	// when data exists, copy samples from ring buffer
	uint32_t available_data_words = ringbuf_available_data(&spk_ring_buffer);
	if (available_data_words > sizeof_half_dma_buffer_in_words) {
		available_data_words = sizeof_half_dma_buffer_in_words;
	}

	if (available_data_words >= sizeof_half_dma_buffer_in_words) {
		for (uint32_t i = 0; i < sizeof_half_dma_buffer_in_words; i++) {
			ringbuf_pop_half_word_swap(&spk_ring_buffer, &dma_buffer_p[i]);
		}
		return available_data_words;
	} else {
		// underflow.  clear buffer to transmit "silence" on the I2S bus
		memset(dma_buffer_p, 0,
				sizeof_half_dma_buffer_in_words * sizeof(uint32_t));
		return sizeof_half_dma_buffer_in_words;
	}
}

uint32_t empty_mic_dma(uint32_t *dma_buffer_p,
		uint32_t sizeof_half_dma_buffer_in_words) {
	// when space exists, copy samples into ring buffer
	if (ringbuf_available_space(&mic_ring_buffer)
			>= sizeof_half_dma_buffer_in_words) {
		for (uint32_t i = 0; i < sizeof_half_dma_buffer_in_words; i++) {
			ringbuf_push(&mic_ring_buffer, dma_buffer_p[i]);
		}
	}
}

//--------------------------------------------------------------------+
// STATUS UPDATE TASK
//--------------------------------------------------------------------+
void status_update_task(void) {
	static uint32_t prev_status_update__ms = 0;

	uint32_t cur_time_ms = board_millis();

	HAL_GPIO_WritePin(LED_MIC_MUTE_GPIO_Port, LED_MIC_MUTE_Pin,
			current_settings.usr_mic_mute ? GPIO_PIN_SET : GPIO_PIN_RESET);

	// Update status once per second
	if (cur_time_ms - prev_status_update__ms < 1000)
		return;

	prev_status_update__ms = cur_time_ms;

	if (current_settings.status_updated == true) {
		current_settings.status_updated = false;
		display_ssd1306_info();
	}
}

void display_ssd1306_info(void) {
	char fmt_tmp_str[20] = "";

	ssd1306_Fill(Black);

	switch (current_settings.spk_blink_interval_ms) {
	case BLINK_NOT_MOUNTED: {
		ssd1306_SetCursor(4, 0);
		ssd1306_WriteString("Spk not mounted", Font_6x8, White);
		break;
	}
	case BLINK_SUSPENDED: {
		ssd1306_SetCursor(4, 0);
		ssd1306_WriteString("Spk suspended", Font_6x8, White);
		break;
	}
	case BLINK_MOUNTED: {
		ssd1306_SetCursor(4, 0);
		ssd1306_WriteString("Spk mounted", Font_6x8, White);
		break;
	}
	case BLINK_STREAMING: {
		char spk_streaming_str[20] = "Spk stream: ";
		memset(fmt_tmp_str, 0x0, sizeof(fmt_tmp_str));

		itoa(current_settings.spk_resolution, fmt_tmp_str, 10);
		strcat(spk_streaming_str, fmt_tmp_str);
		strcat(spk_streaming_str, " bit");

		ssd1306_SetCursor(4, 0);
		ssd1306_WriteString(spk_streaming_str, Font_6x8, White);
		break;
	}
	default: {
		ssd1306_SetCursor(4, 0);
		ssd1306_WriteString("Spk unknown", Font_6x8, White);
		break;
	}
	}

	switch (current_settings.mic_blink_interval_ms) {
	case BLINK_NOT_MOUNTED: {
		ssd1306_SetCursor(4, 8);
		ssd1306_WriteString("Mic not mounted", Font_6x8, White);
		break;
	}
	case BLINK_SUSPENDED: {
		ssd1306_SetCursor(4, 8);
		ssd1306_WriteString("Mic suspended", Font_6x8, White);
		break;
	}
	case BLINK_MOUNTED: {
		ssd1306_SetCursor(4, 8);
		ssd1306_WriteString("Mic mounted", Font_6x8, White);
		break;
	}
	case BLINK_STREAMING: {
		char mic_streaming_str[20] = "Mic stream: ";
		memset(fmt_tmp_str, 0x0, sizeof(fmt_tmp_str));

		itoa(current_settings.mic_resolution, fmt_tmp_str, 10);
		strcat(mic_streaming_str, fmt_tmp_str);
		strcat(mic_streaming_str, " bit");

		ssd1306_SetCursor(4, 8);
		ssd1306_WriteString(mic_streaming_str, Font_6x8, White);
		break;
	}
	default: {
		ssd1306_SetCursor(4, 8);
		ssd1306_WriteString("Mic unknown", Font_6x8, White);
		break;
	}
	}

	{
		char freq_str[20] = "Freq: ";

		memset(fmt_tmp_str, 0x0, sizeof(fmt_tmp_str));

		itoa((current_settings.spk_sample_rate), fmt_tmp_str, 10);
		strcat(freq_str, fmt_tmp_str);
		strcat(freq_str, " Hz");

		ssd1306_SetCursor(4, 16);
		ssd1306_WriteString(freq_str, Font_6x8, White);

	}

	{
		char vol_m_str[20] = "Vol M:";
		char vol_l_str[20] = "Vol L:";
		char vol_r_str[20] = "Vol R:";

		memset(fmt_tmp_str, 0x0, sizeof(fmt_tmp_str));
		itoa((current_settings.spk_volume[0] >> ENC_NUM_OF_FP_BITS),
				fmt_tmp_str, 10);
		strcat(vol_m_str, fmt_tmp_str);

		strcat(vol_m_str, " Mute: ");
		strcat(vol_m_str, (current_settings.spk_mute[0] ? "T" : "F"));

		memset(fmt_tmp_str, 0x0, sizeof(fmt_tmp_str));
		itoa((current_settings.spk_volume[1] >> ENC_NUM_OF_FP_BITS),
				fmt_tmp_str, 10);
		strcat(vol_l_str, fmt_tmp_str);

		strcat(vol_l_str, " Mute: ");
		strcat(vol_l_str, (current_settings.spk_mute[1] ? "T" : "F"));

		memset(fmt_tmp_str, 0x0, sizeof(fmt_tmp_str));
		itoa((current_settings.spk_volume[2] >> ENC_NUM_OF_FP_BITS),
				fmt_tmp_str, 10);
		strcat(vol_r_str, fmt_tmp_str);

		strcat(vol_r_str, " Mute: ");
		strcat(vol_r_str, (current_settings.spk_mute[2] ? "T" : "F"));

		ssd1306_SetCursor(4, 24);
		ssd1306_WriteString(vol_m_str, Font_6x8, White);
		ssd1306_SetCursor(4, 32);
		ssd1306_WriteString(vol_l_str, Font_6x8, White);
		ssd1306_SetCursor(4, 40);
		ssd1306_WriteString(vol_r_str, Font_6x8, White);
	}
	ssd1306_UpdateScreen();
}

#if USB_HID_AUDIO_CTRL_ACTIVE == 1
//-----------------------------------------------------------------
//                 USB HID
//-----------------------------------------------------------------

// Invoked when received GET_REPORT control request
// Application must fill buffer report's content and return its length.
// Return zero will cause the stack to STALL request
uint16_t tud_hid_get_report_cb(uint8_t instance, uint8_t report_id,
		hid_report_type_t report_type, uint8_t *buffer, uint16_t reqlen) {
	// TODO not Implemented
	(void) instance;
	(void) report_id;
	(void) report_type;
	(void) buffer;
	(void) reqlen;

	return 0;
}

// Invoked when received SET_REPORT control request or
// received data on OUT endpoint ( Report ID = 0, Type = 0 )
void tud_hid_set_report_cb(uint8_t instance, uint8_t report_id,
		hid_report_type_t report_type, uint8_t const *buffer, uint16_t bufsize) {
	(void) instance;

//  if (report_type == HID_REPORT_TYPE_OUTPUT)
//  {
//    // Set keyboard LED e.g Capslock, Numlock etc...
//    if (report_id == REPORT_ID_KEYBOARD)
//    {
//      // bufsize should be (at least) 1
//      if ( bufsize < 1 ) return;
//
//      uint8_t const kbd_leds = buffer[0];
//
//      if (kbd_leds & KEYBOARD_LED_CAPSLOCK)
//      {
//        // Capslock On: disable blink, turn led on
//        blink_interval_ms = 0;
//        board_led_write(true);
//      }else
//      {
//        // Caplocks Off: back to normal blink
//        board_led_write(false);
//        blink_interval_ms = BLINK_MOUNTED;
//      }
//    }
//  }
}
//usb_hid_status_t hid_status;
void usb_hid_task(void) {
	static uint32_t prev_hid_tasc_call__ms = 0;
	static bool prev_media_report_is_not_empty = false;

	uint32_t cur_time_ms = board_millis();

	// Update status once per second
	if (cur_time_ms - prev_hid_tasc_call__ms < 50)
		return;

	//--------------
	// Checking rotary encoder
	//--------------
	int16_t volume_rotary_encoder_cntr = __HAL_TIM_GET_COUNTER(&htim3);
	if(volume_rotary_encoder_cntr != hid_status.volume_rotary_encoder_cntr_prev){
		hid_status.cur_custom_ctrl_scan_code = (volume_rotary_encoder_cntr > hid_status.volume_rotary_encoder_cntr_prev) ?
				MY_TUD_HID_CONSUMER_VOLUME_INCREMENT_CODE : MY_TUD_HID_CONSUMER_VOLUME_DECREMENT_CODE;

		hid_status.custom_ctrl_scan_code_updated = true;

		hid_status.volume_rotary_encoder_cntr_prev = volume_rotary_encoder_cntr;
	}
	//--------------

	//--------------
	// Checking scan prev/next buttons
	//--------------
	GPIO_PinState scan_next_pin_state = HAL_GPIO_ReadPin(USR_SCAN_NEXT_BTN_GPIO_Port, USR_SCAN_NEXT_BTN_Pin);
	GPIO_PinState scan_prev_pin_state = HAL_GPIO_ReadPin(USR_SCAN_PREV_BTN_GPIO_Port, USR_SCAN_PREV_BTN_Pin);

	if((scan_prev_pin_state == GPIO_PIN_SET) && (hid_status.btn_scan_prev_status == GPIO_PIN_RESET)){
		hid_status.custom_ctrl_scan_code_updated = true;
		hid_status.cur_custom_ctrl_scan_code = MY_TUD_HID_CONSUMER_SCAN_PREVIOUS_CODE;
	}
	hid_status.btn_scan_next_status = scan_prev_pin_state;

	if((scan_next_pin_state == GPIO_PIN_SET) && (hid_status.btn_scan_next_status == GPIO_PIN_RESET)){
		hid_status.custom_ctrl_scan_code_updated = true;
		hid_status.cur_custom_ctrl_scan_code = MY_TUD_HID_CONSUMER_SCAN_NEXT_CODE;
	}
	hid_status.btn_scan_next_status = scan_next_pin_state;
	//--------------

	// Remote wakeup
	if (tud_suspended() && (hid_status.cur_custom_ctrl_scan_code != 0x0) && (hid_status.custom_ctrl_scan_code_updated == true)) {
		// Wake up host if we are in suspend mode
		// and REMOTE_WAKEUP feature is enabled by host
		tud_remote_wakeup();
	} else {
		if ( !tud_hid_ready() ) return;

		if(hid_status.custom_ctrl_scan_code_updated == true){
			tud_hid_report(REPORT_ID_CONSUMER_CONTROL, &(hid_status.cur_custom_ctrl_scan_code), sizeof(hid_status.cur_custom_ctrl_scan_code));

			hid_status.cur_custom_ctrl_scan_code = 0x0;
			hid_status.custom_ctrl_scan_code_updated = false;
			prev_media_report_is_not_empty = true;
		} else {
			if(prev_media_report_is_not_empty){
				uint8_t empty_scan_code = 0x0;
				tud_hid_report(REPORT_ID_CONSUMER_CONTROL, &(empty_scan_code), sizeof(empty_scan_code));
				prev_media_report_is_not_empty = false;
			}
		}
	}
}

//-----------------------------------------------------------------
//-----------------------------------------------------------------
#endif // USB_HID_AUDIO_CTRL_ACTIVE
/* USER CODE END 4 */

void Error_Handler(void)
{
	__disable_irq();
	while (1) {
	}
}
